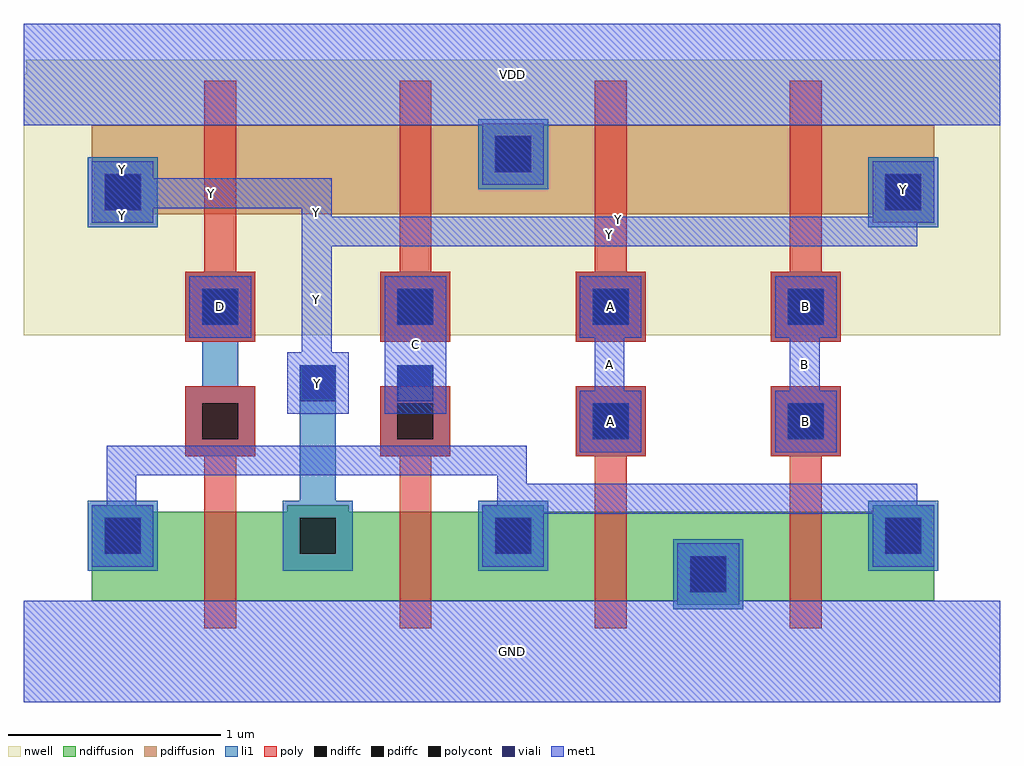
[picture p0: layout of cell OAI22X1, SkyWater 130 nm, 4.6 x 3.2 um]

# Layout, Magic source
magic
# Generated by librecell
tech sky130A
<< nwell >>
rect 0 149 460 272
rect 1 272 460 279
<< viali >>
rect 314 28 331 45
rect 38 46 55 63
rect 222 46 239 63
rect 406 46 423 63
rect 268 100 285 117
rect 360 100 377 117
rect 130 118 147 135
rect 176 118 193 135
rect 84 154 101 171
rect 176 154 193 171
rect 268 154 285 171
rect 360 154 377 171
rect 38 208 55 225
rect 406 208 423 225
rect 222 226 239 243
<< poly >>
rect 85 11 100 92
rect 76 92 109 125
rect 177 11 192 92
rect 168 92 201 125
rect 269 11 284 92
rect 260 92 293 125
rect 361 11 376 92
rect 352 92 385 125
rect 76 146 109 179
rect 85 179 100 269
rect 168 146 201 179
rect 177 179 192 269
rect 260 146 293 179
rect 269 179 284 269
rect 352 146 385 179
rect 361 179 376 269
<< properties >>
string FIXED_BBOX 0 0 460 272
<< li1 >>
rect 306 20 339 53
rect 30 38 63 71
rect 214 38 247 71
rect 398 38 431 71
rect 260 92 293 125
rect 352 92 385 125
rect 122 38 155 71
rect 130 71 147 135
rect 168 92 201 125
rect 176 125 193 135
rect 76 92 109 125
rect 84 125 101 146
rect 76 146 109 179
rect 168 146 201 179
rect 260 146 293 179
rect 352 146 385 179
rect 30 200 63 233
rect 398 200 431 233
rect 214 218 247 251
<< met1 >>
rect 0 -24 460 24
rect 308 24 337 51
rect 216 40 245 65
rect 400 40 429 65
rect 32 40 61 69
rect 216 65 429 69
rect 223 69 421 79
rect 39 69 53 83
rect 223 79 237 83
rect 39 83 237 97
rect 78 148 107 177
rect 170 112 199 177
rect 262 94 291 123
rect 269 123 283 148
rect 262 148 291 177
rect 354 94 383 123
rect 361 123 375 148
rect 354 148 383 177
rect 124 112 153 141
rect 131 141 145 191
rect 131 191 421 202
rect 131 202 429 205
rect 32 202 61 209
rect 131 205 145 209
rect 32 209 145 223
rect 32 223 61 231
rect 400 205 429 231
rect 216 220 245 248
rect 0 248 460 296
<< li1 >>
<< met1 >>
<< li1 >>
<< met1 >>
rect 0 -24 460 24
rect 78 148 107 177
rect 170 112 199 177
rect 262 94 291 123
rect 269 123 283 148
rect 262 148 291 177
rect 354 94 383 123
rect 361 123 375 148
rect 354 148 383 177
rect 124 112 153 141
rect 131 141 145 191
rect 131 191 421 202
rect 131 202 429 205
rect 32 202 61 209
rect 131 205 145 209
rect 32 209 145 223
rect 32 223 61 231
rect 400 205 429 231
rect 0 248 460 296
<< ndiffusion >>
rect 308 22 337 24
rect 32 24 429 66
rect 32 66 61 69
rect 124 66 153 69
rect 216 66 245 69
rect 400 66 429 69
<< pdiffusion >>
rect 32 202 61 206
rect 400 202 429 206
rect 32 206 429 248
rect 216 248 245 249
<< polycont >>
rect 84 100 101 117
rect 176 100 193 117
rect 268 100 285 117
rect 360 100 377 117
rect 84 154 101 171
rect 176 154 193 171
rect 268 154 285 171
rect 360 154 377 171
<< pdiffc >>
rect 38 208 55 225
rect 406 208 423 225
rect 222 226 239 243
<< ndiffc >>
rect 314 28 331 45
rect 38 46 55 63
rect 130 46 147 63
rect 222 46 239 63
rect 406 46 423 63
<< labels >>
rlabel metal2 0 248 460 296 0 VDD
port 1 se
rlabel metal2 0 -24 460 24 0 GND
port 2 se
rlabel metal2 124 112 153 141 0 Y
port 3 se
rlabel metal2 131 141 145 191 0 Y
port 4 se
rlabel metal2 131 191 421 202 0 Y
port 5 se
rlabel metal2 131 202 429 205 0 Y
port 6 se
rlabel metal2 32 202 61 209 0 Y
port 7 se
rlabel metal2 131 205 145 209 0 Y
port 8 se
rlabel metal2 32 209 145 223 0 Y
port 9 se
rlabel metal2 32 223 61 231 0 Y
port 10 se
rlabel metal2 400 205 429 231 0 Y
port 11 se
rlabel metal2 354 94 383 123 0 B
port 12 se
rlabel metal2 361 123 375 148 0 B
port 13 se
rlabel metal2 354 148 383 177 0 B
port 14 se
rlabel metal2 170 112 199 177 0 C
port 15 se
rlabel metal2 78 148 107 177 0 D
port 16 se
rlabel metal2 262 94 291 123 0 A
port 17 se
rlabel metal2 269 123 283 148 0 A
port 18 se
rlabel metal2 262 148 291 177 0 A
port 19 se
<< end >>
